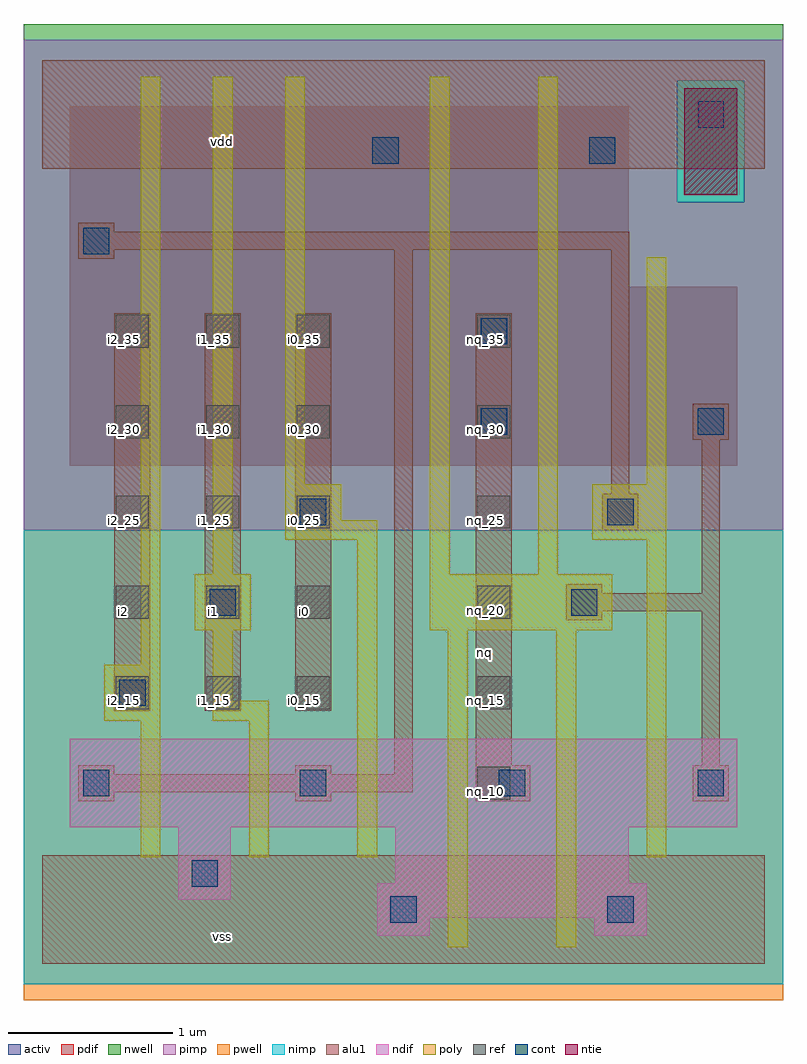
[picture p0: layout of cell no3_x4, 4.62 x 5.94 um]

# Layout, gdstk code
import gdstk
lib = gdstk.Library(unit=1e-6, precision=2.5e-09)
def R(c, l, rs):  # rectangles x0, y0, x1, y1
    for r in rs: c.add(gdstk.rectangle(r[:2], r[2:], *l))
def A(c, l, x, y, w, h, nx, ny, dx, dy):  # array of equal rectangles
    R(c, l, [(x+i*dx, y+j*dy, x+i*dx+w, y+j*dy+h) for i in range(nx) for j in range(ny)])
ndif = (3, 0)
pdif = (4, 0)
ntie = (5, 0)
ref = (24, 0)
cont = (25, 0)
pwell = (41, 0)
nwell = (42, 0)
activ = (43, 0)
pimp = (44, 0)
nimp = (45, 0)
poly = (46, 0)
alu1 = (49, 0)

no3_x4 = lib.new_cell('no3_x4')
R(no3_x4, ndif, [(2.04,0.17,2.36,0.28), (2.04,0.17,2.36,0.28), (3.36,0.17,3.68,0.28), (3.36,0.17,3.68,0.28), (2.04,0.28,3.68,0.49), (2.04,0.28,3.68,0.49), (0.83,0.39,1.15,0.83), (0.83,0.39,1.15,0.83), (2.15,0.49,3.57,0.83), (2.15,0.49,3.57,0.83), (0.17,0.83,4.23,1.37), (0.17,0.83,4.23,1.37)])
R(no3_x4, pdif, [(0.17,3.03,4.23,4.12), (0.17,3.03,4.23,4.12), (0.17,4.12,3.57,5.22), (0.17,4.12,3.57,5.22)])
R(no3_x4, ntie, [(3.91,4.68,4.23,5.33), (3.91,4.68,4.23,5.33)])
A(no3_x4, ref, 2.65, 1, 0.2, 0.2, 1, 6, 0, 0.55)
A(no3_x4, ref, 0.45, 1.55, 0.2, 0.2, 3, 5, 0.55, 0.55)
A(no3_x4, cont, 1.57, 1.02, 0.16, 0.16, 3, 1, 1.21, 0)
R(no3_x4, cont, [(2.12,0.25,2.28,0.41), (3.44,0.25,3.6,0.41), (0.91,0.47,1.07,0.63), (0.25,1.02,0.41,1.18), (0.47,1.57,0.63,1.73), (1.02,2.12,1.18,2.28), (3.22,2.12,3.38,2.28), (1.57,2.67,1.73,2.83), (3.44,2.67,3.6,2.83), (2.67,3.22,2.83,3.38), (3.99,3.22,4.15,3.38), (2.67,3.77,2.83,3.93), (0.25,4.32,0.41,4.48), (2.01,4.87,2.17,5.03), (3.33,4.87,3.49,5.03), (3.99,5.09,4.15,5.25)])
R(no3_x4, pwell, [(-0.11,-0.22,4.51,2.64)])
R(no3_x4, nwell, [(-0.11,2.64,4.51,5.72)])
R(no3_x4, activ, [(2.04,0.17,2.36,0.28), (2.04,0.17,2.36,0.28), (3.36,0.17,3.68,0.28), (3.36,0.17,3.68,0.28), (2.04,0.28,3.68,0.49), (2.04,0.28,3.68,0.49), (0.83,0.39,1.15,0.83), (0.83,0.39,1.15,0.83), (2.15,0.49,3.57,0.83), (2.15,0.49,3.57,0.83), (0.17,0.83,4.23,1.37), (0.17,0.83,4.23,1.37), (0.17,3.03,4.23,4.12), (0.17,3.03,4.23,4.12), (0.17,4.12,3.57,5.22), (0.17,4.12,3.57,5.22), (3.91,4.68,4.23,5.33), (3.91,4.68,4.23,5.33)])
R(no3_x4, pimp, [(-0.11,2.64,4.51,4.635), (-0.11,4.635,3.865,5.375), (4.275,4.635,4.51,5.375), (-0.11,5.375,4.51,5.625)])
R(no3_x4, nimp, [(-0.11,-0.125,4.51,2.64), (3.865,4.635,4.275,5.375)])
R(no3_x4, poly, [(2.47,0.1,2.59,2.03), (3.13,0.1,3.25,2.03), (0.6,0.65,0.72,1.48), (1.26,0.65,1.38,1.48), (1.92,0.65,2.04,2.58), (3.68,0.65,3.8,2.58), (0.38,1.48,0.72,1.82), (1.04,1.48,1.38,1.6), (1.04,1.6,1.16,2.03), (0.6,1.82,0.72,5.4), (0.93,2.03,1.27,2.37), (2.36,2.03,3.47,2.37), (1.04,2.37,1.16,5.4), (2.36,2.37,2.48,5.4), (3.02,2.37,3.14,5.4), (1.48,2.58,2.04,2.7), (3.35,2.58,3.8,2.92), (1.48,2.7,1.82,2.92), (1.48,2.92,1.6,5.4), (3.68,2.92,3.8,4.3)])
A(no3_x4, alu1, 0.44, 1.54, 0.22, 2.42, 3, 1, 0.55, 0)
R(no3_x4, alu1, [(0,0,4.4,0.66), (0.22,0.99,0.44,1.045), (1.54,0.99,1.76,1.045), (2.64,0.99,2.97,1.21), (3.96,0.99,4.18,1.21), (0.22,1.045,2.255,1.155), (0.22,1.155,0.44,1.21), (1.54,1.155,1.76,1.21), (2.145,1.155,2.255,4.345), (2.64,1.21,2.86,3.96), (4.015,1.21,4.125,2.145), (3.19,2.09,3.41,2.145), (3.19,2.145,4.125,2.255), (3.19,2.255,3.41,2.31), (4.015,2.255,4.125,3.19), (3.41,2.64,3.63,2.86), (3.465,2.86,3.575,4.345), (3.96,3.19,4.18,3.41), (0.22,4.29,0.44,4.345), (0.22,4.345,3.575,4.455), (0.22,4.455,0.44,4.51), (0,4.84,4.4,5.5)])
no3_x4.add(gdstk.Label('vss', (1.1,0.165), layer=49, texttype=0))
no3_x4.add(gdstk.Label('nq', (2.695,1.8975), layer=49, texttype=0))
no3_x4.add(gdstk.Label('i0', (1.595,2.145), layer=49, texttype=0))
no3_x4.add(gdstk.Label('i1', (1.045,2.145), layer=49, texttype=0))
no3_x4.add(gdstk.Label('i2', (0.495,2.145), layer=49, texttype=0))
no3_x4.add(gdstk.Label('vdd', (1.1,5.005), layer=49, texttype=0))
no3_x4.add(gdstk.Label('nq_10', (2.7,1.05), layer=24, texttype=0))
no3_x4.add(gdstk.Label('i2_35', (0.5,3.8), layer=24, texttype=0))
no3_x4.add(gdstk.Label('i2_15', (0.5,1.6), layer=24, texttype=0))
no3_x4.add(gdstk.Label('i2_20', (0.5,2.15), layer=24, texttype=0))
no3_x4.add(gdstk.Label('i2_25', (0.5,2.7), layer=24, texttype=0))
no3_x4.add(gdstk.Label('i2_30', (0.5,3.25), layer=24, texttype=0))
no3_x4.add(gdstk.Label('i1_35', (1.05,3.8), layer=24, texttype=0))
no3_x4.add(gdstk.Label('i1_30', (1.05,3.25), layer=24, texttype=0))
no3_x4.add(gdstk.Label('i1_25', (1.05,2.7), layer=24, texttype=0))
no3_x4.add(gdstk.Label('i1_20', (1.05,2.15), layer=24, texttype=0))
no3_x4.add(gdstk.Label('i1_15', (1.05,1.6), layer=24, texttype=0))
no3_x4.add(gdstk.Label('i0_15', (1.6,1.6), layer=24, texttype=0))
no3_x4.add(gdstk.Label('i0_20', (1.6,2.15), layer=24, texttype=0))
no3_x4.add(gdstk.Label('i0_25', (1.6,2.7), layer=24, texttype=0))
no3_x4.add(gdstk.Label('i0_30', (1.6,3.25), layer=24, texttype=0))
no3_x4.add(gdstk.Label('i0_35', (1.6,3.8), layer=24, texttype=0))
no3_x4.add(gdstk.Label('nq_35', (2.7,3.8), layer=24, texttype=0))
no3_x4.add(gdstk.Label('nq_30', (2.7,3.25), layer=24, texttype=0))
no3_x4.add(gdstk.Label('nq_25', (2.7,2.7), layer=24, texttype=0))
no3_x4.add(gdstk.Label('nq_20', (2.7,2.15), layer=24, texttype=0))
no3_x4.add(gdstk.Label('nq_15', (2.7,1.6), layer=24, texttype=0))

lib.write_gds('no3_x4.gds')
